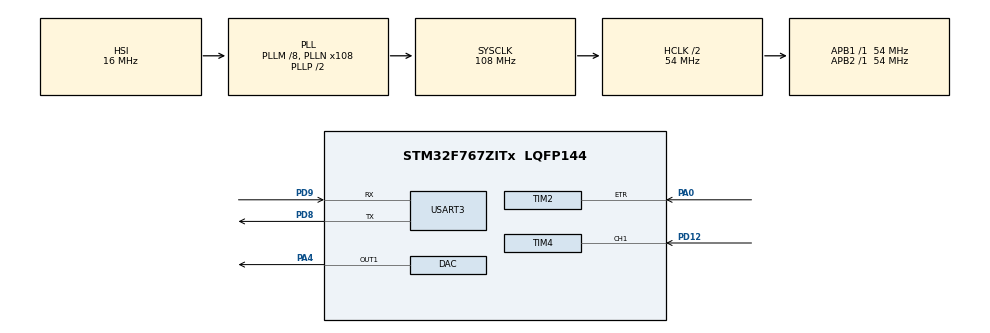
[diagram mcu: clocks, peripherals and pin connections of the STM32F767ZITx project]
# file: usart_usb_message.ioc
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Mcu.Family=STM32F7
VP_TIM1_VS_OPM.Mode=OPM_bit
RCC.CortexFreq_Value=54000000
PA0/WKUP.Signal=S_TIM2_CH1_ETR
PD9.Mode=Asynchronous
TIM4.TIM_MasterOutputTrigger=TIM_TRGO_UPDATE
RCC.SYSCLKSource=RCC_SYSCLKSOURCE_PLLCLK
ProjectManager.StackSize=0x400
TIM4.Channel-Input_Capture1_from_TI1=TIM_CHANNEL_1
VP_TIM2_VS_ClockSourceITR.Mode=TriggerSource_ITR0
USART3.VirtualMode-Asynchronous=VM_ASYNC
TIM1.Prescaler=5399
PH0/OSC_IN.Mode=HSE-External-Oscillator
RCC.HCLKFreq_Value=54000000
RCC.APB2TimFreq_Value=54000000
PH1/OSC_OUT.Signal=RCC_OSC_OUT
PD8.Signal=USART3_TX
VP_TIM3_VS_ControllerModeClock.Mode=Clock Mode
RCC.AHBFreq_Value=54000000
RCC.HSE_VALUE=16000000
RCC.RCC_MCO1Source=RCC_MCO1SOURCE_HSE
PA14.Mode=Serial_Wire
VP_TIM3_VS_ClockSourceITR.Mode=TriggerSource_ITR3
PH1/OSC_OUT.Mode=HSE-External-Oscillator
VP_TIM1_VS_ClockSourceINT.Mode=Internal
Mcu.Package=LQFP144
TIM2.Prescaler=0
PD12.Signal=S_TIM4_CH1
TIM2.TIM_MasterOutputTrigger=TIM_TRGO_UPDATE
SH.S_TIM4_CH1.0=TIM4_CH1,Input_Capture1_from_TI1
RCC.APB1TimFreq_Value=54000000
TIM1.Period=9999
SH.COMP_DAC1_group.0=DAC_OUT1,DAC_OUT1
PD9.Signal=USART3_RX
PA13.Signal=SYS_JTMS-SWDIO
ProjectManager.TargetToolchain=STM32CubeIDE
RCC.USBFreq_Value=24000000
TIM4.Prescaler=53
RCC.LSE_VALUE=32768
PD8.Mode=Asynchronous
board=custom
RCC.VCOOutputFreq_Value=216000000
PH0/OSC_IN.Signal=RCC_OSC_IN
TIM1.TIM_MasterOutputTrigger=TIM_TRGO_ENABLE
RCC.APB2Freq_Value=54000000
RCC.AHBCLKDivider=RCC_SYSCLK_DIV2
TIM2.Period=4294967295
PA13.Mode=Serial_Wire
Mcu.Name=STM32F767ZITx
PA4.Signal=COMP_DAC1_group
RCC.SYSCLKFreq_VALUE=108000000
SH.S_TIM2_CH1_ETR.0=TIM2_ETR,ClockSourceETR_Mode2
PA14.Signal=SYS_JTCK-SWCLK
ProjectManager.HeapSize=0x200
NVIC.TIM1_UP_TIM10_IRQn=true\:0\:0\:false\:false\:true\:true\:true
RCC.HSI_VALUE=16000000
RCC.PLLQ=9
NVIC.PriorityGroup=NVIC_PRIORITYGROUP_4
RCC.PLLM=8
RCC.PLLN=108
VP_TIM2_VS_ControllerModeGated.Mode=Gated Mode
NVIC.TIM4_IRQn=true\:0\:0\:false\:false\:true\:true\:true
RCC.APB1Freq_Value=54000000
TIM1.TIM_MasterSlaveMode=TIM_MASTERSLAVEMODE_ENABLE

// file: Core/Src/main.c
/* USER CODE BEGIN Header */
/**
  ******************************************************************************
  * @file           : main.c
  * @brief          : Main program body
  ******************************************************************************
  * @attention
  *
  * <h2><center>&copy; Copyright (c) 2022 STMicroelectronics.
  * All rights reserved.</center></h2>
  *
  * This software component is licensed by ST under BSD 3-Clause license,
  * the "License"; You may not use this file except in compliance with the
  * License. You may obtain a copy of the License at:
  *                        opensource.org/licenses/BSD-3-Clause
  *
  ******************************************************************************
  */
/* USER CODE END Header */
#include "main.h"

/* USER CODE BEGIN Includes */
#include "string.h"
#include "stdio.h"
#include "analogOutputConverter.h"
/* USER CODE END Includes */

DAC_HandleTypeDef hdac;

TIM_HandleTypeDef htim1;
TIM_HandleTypeDef htim2;
TIM_HandleTypeDef htim3;
TIM_HandleTypeDef htim4;

UART_HandleTypeDef huart3;

/* USER CODE BEGIN PV */
uint8_t count = 0;
float freq = 0;
const float XMIN = 0;
const float XMAX = 50;
const float YMIN = 0;
const float YMAX = 4095;
/* USER CODE END PV */

void SystemClock_Config(void);
static void MX_GPIO_Init(void);
static void MX_USART3_UART_Init(void);
static void MX_TIM1_Init(void);
static void MX_TIM2_Init(void);
static void MX_TIM3_Init(void);
static void MX_TIM4_Init(void);
static void MX_DAC_Init(void);

/* USER CODE BEGIN 0 */
void HAL_TIM_IC_CaptureCallback(TIM_HandleTypeDef *htim)
{
	if(htim == &htim4)
	{
		if(htim->Channel == HAL_TIM_ACTIVE_CHANNEL_1)
		{
			count++;
			if(count == 1)
			{
				__HAL_TIM_SET_COUNTER(&htim4, 0x0000);
				__HAL_TIM_SET_COUNTER(&htim3, 0x0000);
			}

			else if(count == 2)
			{
				HAL_TIM_IC_Stop_IT(&htim4, TIM_CHANNEL_1);

				count = 0;

				uint16_t countMain = HAL_TIM_ReadCapturedValue(&htim4, TIM_CHANNEL_1);
				uint16_t countSecondary = __HAL_TIM_GET_COUNTER(&htim3);
				uint16_t arr = __HAL_TIM_GET_AUTORELOAD(&htim3);
				uint32_t res = countMain + (countSecondary * arr) + countSecondary;
				freq = 1 / (res / 1000000.0);
				freq -= (freq*5)/1000;

				char str[96] = {0,};
				sprintf(str, "Frequency: %.3f Hz | OUT %0.3f\n--------------------\n", freq, analogOutputConverter(freq, XMIN, XMAX, YMIN, YMAX));
				HAL_UART_Transmit(&huart3, (uint8_t*)str, strlen(str), 1000);

				HAL_TIM_IC_Start_IT(&htim4, TIM_CHANNEL_1);
			}
		}
	}
}
void HAL_TIM_PeriodElapsedCallback(TIM_HandleTypeDef *htim)
{
	if(htim == &htim1)
	{
		freq = __HAL_TIM_GET_COUNTER(&htim2) - 6*(__HAL_TIM_GET_COUNTER(&htim2)/1000);

		char str[96] = {0,};

		sprintf(str,"Frequency: %.3f MHz | %.3f KHz | %lu Hz | OUT: %f\n--------------------\n", (float)freq / 1000000.0, (float)freq / 1000.0, (uint32_t)freq, analogOutputConverter(freq, XMIN, XMAX, YMIN, YMAX));
		HAL_UART_Transmit(&huart3, (uint8_t*)str, strlen(str), 1000);

		HAL_TIM_Base_Stop_IT(&htim1);
		__HAL_TIM_SET_COUNTER(&htim2, 0x0000);
		HAL_TIM_Base_Start_IT(&htim1);

	}
}
/* USER CODE END 0 */

int main(void)
{

  /* MCU Configuration--------------------------------------------------------*/

  /* Reset of all peripherals, Initializes the Flash interface and the Systick. */
  HAL_Init();

  /* Configure the system clock */
  SystemClock_Config();

  /* Initialize all configured peripherals */
  MX_GPIO_Init();
  MX_USART3_UART_Init();
  MX_TIM1_Init();
  MX_TIM2_Init();
  MX_TIM3_Init();
  MX_TIM4_Init();
  MX_DAC_Init();
  /* USER CODE BEGIN 2 */
  HAL_TIM_IC_Start_IT(&htim4, TIM_CHANNEL_1);
  HAL_TIM_Base_Start(&htim3);
  __HAL_DAC_ENABLE(&hdac, DAC_CHANNEL_1);
  //HAL_TIM_Base_Start_IT(&htim1);
  //HAL_TIM_Base_Start(&htim2);

  /* USER CODE END 2 */

  /* Infinite loop */
  while (1)
  {
	  const float Vref = 3.3;
	  float volt = 1;
    /* USER CODE BEGIN 3 */
	  if (freq < 2)
	  {
		  HAL_TIM_Base_Stop_IT(&htim1);
		  HAL_TIM_Base_Stop(&htim2);
		  HAL_TIM_IC_Start_IT(&htim4, TIM_CHANNEL_1);
		  HAL_TIM_Base_Start(&htim3);
	  }
	  else if (freq >= 2)
	  {
		  HAL_TIM_IC_Stop_IT(&htim4, TIM_CHANNEL_1);
		  HAL_TIM_Base_Stop(&htim3);
		  HAL_TIM_Base_Start_IT(&htim1);
		  HAL_TIM_Base_Start(&htim2);
	  }
	  HAL_DAC_SetValue(&hdac, DAC1_CHANNEL_1, DAC_ALIGN_12B_R, (volt/Vref)*analogOutputConverter(freq, XMIN, XMAX, YMIN, YMAX));
  }
  /* USER CODE END 3 */
}

void SystemClock_Config(void)
{
  RCC_OscInitTypeDef RCC_OscInitStruct = {0};
  RCC_ClkInitTypeDef RCC_ClkInitStruct = {0};
  RCC_PeriphCLKInitTypeDef PeriphClkInitStruct = {0};

  /** Configure the main internal regulator output voltage
  */
  __HAL_RCC_PWR_CLK_ENABLE();
  __HAL_PWR_VOLTAGESCALING_CONFIG(PWR_REGULATOR_VOLTAGE_SCALE3);
  /** Initializes the RCC Oscillators according to the specified parameters
  * in the RCC_OscInitTypeDef structure.
  */
  RCC_OscInitStruct.OscillatorType = RCC_OSCILLATORTYPE_HSI;
  RCC_OscInitStruct.HSIState = RCC_HSI_ON;
  RCC_OscInitStruct.HSICalibrationValue = RCC_HSICALIBRATION_DEFAULT;
  RCC_OscInitStruct.PLL.PLLState = RCC_PLL_ON;
  RCC_OscInitStruct.PLL.PLLSource = RCC_PLLSOURCE_HSI;
  RCC_OscInitStruct.PLL.PLLM = 8;
  RCC_OscInitStruct.PLL.PLLN = 108;
  RCC_OscInitStruct.PLL.PLLP = RCC_PLLP_DIV2;
  RCC_OscInitStruct.PLL.PLLQ = 9;
  if (HAL_RCC_OscConfig(&RCC_OscInitStruct) != HAL_OK)
  {
    Error_Handler();
  }
  /** Activate the Over-Drive mode
  */
  if (HAL_PWREx_EnableOverDrive() != HAL_OK)
  {
    Error_Handler();
  }
  /** Initializes the CPU, AHB and APB buses clocks
  */
  RCC_ClkInitStruct.ClockType = RCC_CLOCKTYPE_HCLK|RCC_CLOCKTYPE_SYSCLK
                              |RCC_CLOCKTYPE_PCLK1|RCC_CLOCKTYPE_PCLK2;
  RCC_ClkInitStruct.SYSCLKSource = RCC_SYSCLKSOURCE_PLLCLK;
  RCC_ClkInitStruct.AHBCLKDivider = RCC_SYSCLK_DIV2;
  RCC_ClkInitStruct.APB1CLKDivider = RCC_HCLK_DIV1;
  RCC_ClkInitStruct.APB2CLKDivider = RCC_HCLK_DIV1;

  if (HAL_RCC_ClockConfig(&RCC_ClkInitStruct, FLASH_LATENCY_1) != HAL_OK)
  {
    Error_Handler();
  }
  PeriphClkInitStruct.PeriphClockSelection = RCC_PERIPHCLK_USART3;
  PeriphClkInitStruct.Usart3ClockSelection = RCC_USART3CLKSOURCE_PCLK1;
  if (HAL_RCCEx_PeriphCLKConfig(&PeriphClkInitStruct) != HAL_OK)
  {
    Error_Handler();
  }
}

static void MX_DAC_Init(void)
{

  DAC_ChannelConfTypeDef sConfig = {0};

  /** DAC Initialization
  */
  hdac.Instance = DAC;
  if (HAL_DAC_Init(&hdac) != HAL_OK)
  {
    Error_Handler();
  }
  /** DAC channel OUT1 config
  */
  sConfig.DAC_Trigger = DAC_TRIGGER_NONE;
  sConfig.DAC_OutputBuffer = DAC_OUTPUTBUFFER_ENABLE;
  if (HAL_DAC_ConfigChannel(&hdac, &sConfig, DAC_CHANNEL_1) != HAL_OK)
  {
    Error_Handler();
  }

}

static void MX_TIM1_Init(void)
{

  TIM_ClockConfigTypeDef sClockSourceConfig = {0};
  TIM_MasterConfigTypeDef sMasterConfig = {0};

  htim1.Instance = TIM1;
  htim1.Init.Prescaler = 5399;
  htim1.Init.CounterMode = TIM_COUNTERMODE_UP;
  htim1.Init.Period = 9999;
  htim1.Init.ClockDivision = TIM_CLOCKDIVISION_DIV1;
  htim1.Init.RepetitionCounter = 0;
  htim1.Init.AutoReloadPreload = TIM_AUTORELOAD_PRELOAD_DISABLE;
  if (HAL_TIM_Base_Init(&htim1) != HAL_OK)
  {
    Error_Handler();
  }
  sClockSourceConfig.ClockSource = TIM_CLOCKSOURCE_INTERNAL;
  if (HAL_TIM_ConfigClockSource(&htim1, &sClockSourceConfig) != HAL_OK)
  {
    Error_Handler();
  }
  if (HAL_TIM_OnePulse_Init(&htim1, TIM_OPMODE_SINGLE) != HAL_OK)
  {
    Error_Handler();
  }
  sMasterConfig.MasterOutputTrigger = TIM_TRGO_ENABLE;
  sMasterConfig.MasterOutputTrigger2 = TIM_TRGO2_RESET;
  sMasterConfig.MasterSlaveMode = TIM_MASTERSLAVEMODE_ENABLE;
  if (HAL_TIMEx_MasterConfigSynchronization(&htim1, &sMasterConfig) != HAL_OK)
  {
    Error_Handler();
  }

}

static void MX_TIM2_Init(void)
{

  TIM_ClockConfigTypeDef sClockSourceConfig = {0};
  TIM_SlaveConfigTypeDef sSlaveConfig = {0};
  TIM_MasterConfigTypeDef sMasterConfig = {0};

  htim2.Instance = TIM2;
  htim2.Init.Prescaler = 0;
  htim2.Init.CounterMode = TIM_COUNTERMODE_UP;
  htim2.Init.Period = 4294967295;
  htim2.Init.ClockDivision = TIM_CLOCKDIVISION_DIV1;
  htim2.Init.AutoReloadPreload = TIM_AUTORELOAD_PRELOAD_DISABLE;
  if (HAL_TIM_Base_Init(&htim2) != HAL_OK)
  {
    Error_Handler();
  }
  sClockSourceConfig.ClockSource = TIM_CLOCKSOURCE_ETRMODE2;
  sClockSourceConfig.ClockPolarity = TIM_CLOCKPOLARITY_NONINVERTED;
  sClockSourceConfig.ClockPrescaler = TIM_CLOCKPRESCALER_DIV1;
  sClockSourceConfig.ClockFilter = 0;
  if (HAL_TIM_ConfigClockSource(&htim2, &sClockSourceConfig) != HAL_OK)
  {
    Error_Handler();
  }
  sSlaveConfig.SlaveMode = TIM_SLAVEMODE_GATED;
  sSlaveConfig.InputTrigger = TIM_TS_ITR0;
  if (HAL_TIM_SlaveConfigSynchro(&htim2, &sSlaveConfig) != HAL_OK)
  {
    Error_Handler();
  }
  sMasterConfig.MasterOutputTrigger = TIM_TRGO_UPDATE;
  sMasterConfig.MasterSlaveMode = TIM_MASTERSLAVEMODE_DISABLE;
  if (HAL_TIMEx_MasterConfigSynchronization(&htim2, &sMasterConfig) != HAL_OK)
  {
    Error_Handler();
  }

}

static void MX_TIM3_Init(void)
{

  TIM_SlaveConfigTypeDef sSlaveConfig = {0};
  TIM_MasterConfigTypeDef sMasterConfig = {0};

  htim3.Instance = TIM3;
  htim3.Init.Prescaler = 0;
  htim3.Init.CounterMode = TIM_COUNTERMODE_UP;
  htim3.Init.Period = 65535;
  htim3.Init.ClockDivision = TIM_CLOCKDIVISION_DIV1;
  htim3.Init.AutoReloadPreload = TIM_AUTORELOAD_PRELOAD_DISABLE;
  if (HAL_TIM_Base_Init(&htim3) != HAL_OK)
  {
    Error_Handler();
  }
  sSlaveConfig.SlaveMode = TIM_SLAVEMODE_EXTERNAL1;
  sSlaveConfig.InputTrigger = TIM_TS_ITR3;
  if (HAL_TIM_SlaveConfigSynchro(&htim3, &sSlaveConfig) != HAL_OK)
  {
    Error_Handler();
  }
  sMasterConfig.MasterOutputTrigger = TIM_TRGO_RESET;
  sMasterConfig.MasterSlaveMode = TIM_MASTERSLAVEMODE_DISABLE;
  if (HAL_TIMEx_MasterConfigSynchronization(&htim3, &sMasterConfig) != HAL_OK)
  {
    Error_Handler();
  }

}

static void MX_TIM4_Init(void)
{

  TIM_MasterConfigTypeDef sMasterConfig = {0};
  TIM_IC_InitTypeDef sConfigIC = {0};

  htim4.Instance = TIM4;
  htim4.Init.Prescaler = 53;
  htim4.Init.CounterMode = TIM_COUNTERMODE_UP;
  htim4.Init.Period = 65535;
  htim4.Init.ClockDivision = TIM_CLOCKDIVISION_DIV1;
  htim4.Init.AutoReloadPreload = TIM_AUTORELOAD_PRELOAD_DISABLE;
  if (HAL_TIM_IC_Init(&htim4) != HAL_OK)
  {
    Error_Handler();
  }
  sMasterConfig.MasterOutputTrigger = TIM_TRGO_UPDATE;
  sMasterConfig.MasterSlaveMode = TIM_MASTERSLAVEMODE_DISABLE;
  if (HAL_TIMEx_MasterConfigSynchronization(&htim4, &sMasterConfig) != HAL_OK)
  {
    Error_Handler();
  }
  sConfigIC.ICPolarity = TIM_INPUTCHANNELPOLARITY_RISING;
  sConfigIC.ICSelection = TIM_ICSELECTION_DIRECTTI;
  sConfigIC.ICPrescaler = TIM_ICPSC_DIV1;
  sConfigIC.ICFilter = 0;
  if (HAL_TIM_IC_ConfigChannel(&htim4, &sConfigIC, TIM_CHANNEL_1) != HAL_OK)
  {
    Error_Handler();
  }

}

static void MX_USART3_UART_Init(void)
{

  huart3.Instance = USART3;
  huart3.Init.BaudRate = 115200;
  huart3.Init.WordLength = UART_WORDLENGTH_8B;
  huart3.Init.StopBits = UART_STOPBITS_1;
  huart3.Init.Parity = UART_PARITY_NONE;
  huart3.Init.Mode = UART_MODE_TX_RX;
  huart3.Init.HwFlowCtl = UART_HWCONTROL_NONE;
  huart3.Init.OverSampling = UART_OVERSAMPLING_16;
  huart3.Init.OneBitSampling = UART_ONE_BIT_SAMPLE_DISABLE;
  huart3.AdvancedInit.AdvFeatureInit = UART_ADVFEATURE_NO_INIT;
  if (HAL_UART_Init(&huart3) != HAL_OK)
  {
    Error_Handler();
  }

}

static void MX_GPIO_Init(void)
{

  /* GPIO Ports Clock Enable */
  __HAL_RCC_GPIOH_CLK_ENABLE();
  __HAL_RCC_GPIOA_CLK_ENABLE();
  __HAL_RCC_GPIOD_CLK_ENABLE();

}

void Error_Handler(void)
{
  __disable_irq();
  while (1)
  {
  }
}

/************************ (C) COPYRIGHT STMicroelectronics *****END OF FILE****/
